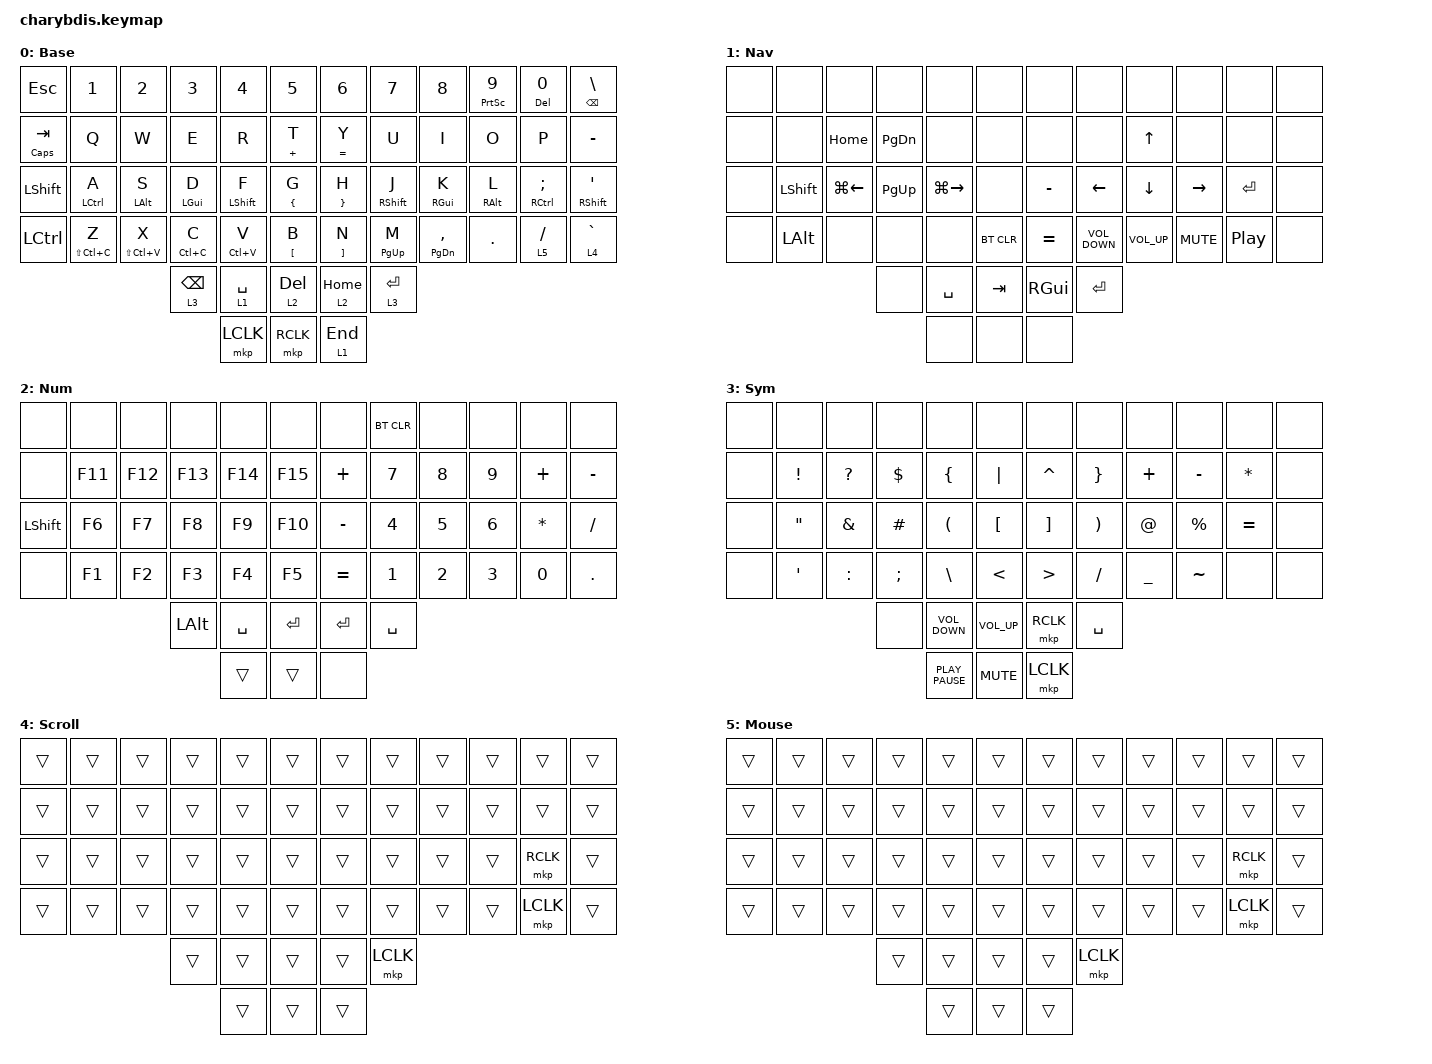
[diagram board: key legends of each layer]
#define ZMK_POINTING_DEFAULT_MOVE_VAL 400  // default: 600
#define ZMK_POINTING_DEFAULT_SCRL_VAL 20    // default: 10

#include <dt-bindings/zmk/mouse.h>
#include <behaviors.dtsi>
#include <dt-bindings/zmk/bt.h>
#include <dt-bindings/zmk/keys.h>

&lt {
    tapping-term-ms = <200>;
    flavor = "balanced";
    quick-tap-ms = <150>;
};

/ {
    combos {
        compatible = "zmk,combos";

        escc {
            bindings = <&kp ESC>;
            key-positions = <17 18>;
            layers = <0>;
        };

        minus {
            bindings = <&kp MINUS>;
            key-positions = <4 7>;
        };

        apostrophe {
            bindings = <&kp APOS>;
            key-positions = <29 30>;
        };
    };

    behaviors {
        hm: homerow_mods {
            compatible = "zmk,behavior-hold-tap";
            #binding-cells = <2>;
            tapping-term-ms = <300>;
            flavor = "tap-preferred";
            bindings = <&kp>, <&kp>;

            label = "HOMEROW_MODS";
        };

        mmv: mmv {
            compatible = "zmk,behavior-input-two-axis";
            label = "MMV";
            #binding-cells = <1>;
            x-input-code = <50>;
            y-input-code = <50>;
            time-to-max-speed-ms = <300>;
            acceleration-exponent = <1>;
        };

        msc: msc {
            compatible = "zmk,behavior-input-two-axis";
            label = "MSC";
            #binding-cells = <1>;
            x-input-code = <50>;
            y-input-code = <50>;
            time-to-max-speed-ms = <300>;
            acceleration-exponent = <0>;
        };
    };

    keymap {
        compatible = "zmk,keymap";

        Base {
            bindings = <
&kp ESCAPE      &kp N1           &kp N2           &kp N3           &kp N4            &kp N5                &kp N6               &kp N7             &kp N8               &hm PRINTSCREEN N9  &hm DEL N0           &hm BACKSPACE BACKSLASH
&hm CAPS TAB    &kp Q            &kp W            &kp E            &kp R             &hm PLUS T            &hm EQUAL Y          &kp U              &kp I                &kp O               &kp P                &kp MINUS
&kp LEFT_SHIFT  &hm LCTRL A      &hm LEFT_ALT S   &hm LEFT_GUI D   &hm LEFT_SHIFT F  &hm LEFT_BRACE G      &hm RIGHT_BRACE H    &hm RIGHT_SHIFT J  &hm RGUI K           &hm RIGHT_ALT L     &hm RCTRL SEMICOLON  &hm RSHIFT SQT
&kp LCTRL       &hm LS(LC(C)) Z  &hm LS(LC(V)) X  &hm LC(C) C      &hm LC(V) V       &hm LEFT_BRACKET B    &hm RIGHT_BRACKET N  &hm PAGE_UP M      &hm PAGE_DOWN COMMA  &kp DOT             &lt 5 SLASH          &lt 4 GRAVE
                                                  &lt 3 BACKSPACE  &lt 1 SPACE       &lt 2 DELETE          &lt 2 HOME           &lt 3 RET
                                                                   &mkp LCLK         &mkp RCLK             &lt 1 END
            >;

            trackball-bindings = <&tmv_coarse>;
        };

        Nav {
            bindings = <
&none  &none           &none         &none          &none          &none         &none          &none              &none            &none       &none             &none
&none  &none           &kp HOME      &kp PAGE_DOWN  &none          &none         &none          &none              &kp UP_ARROW     &none       &none             &none
&none  &kp LEFT_SHIFT  &kp LG(LEFT)  &kp PAGE_UP    &kp LG(RIGHT)  &none         &kp MINUS      &kp LEFT           &kp DOWN_ARROW   &kp RIGHT   &kp RET           &none
&none  &kp LALT        &none         &none          &none          &bt BT_CLR    &kp EQUAL      &kp C_VOLUME_DOWN  &kp C_VOLUME_UP  &kp K_MUTE  &kp C_PLAY_PAUSE  &none
                                     &none          &kp SPACE      &kp TAB       &kp RIGHT_GUI  &kp RET
                                                    &none          &none         &none
            >;

            trackball-bindings = <&tmv_coarse>;
        };

        Num {
            bindings = <
&none           &none    &none    &none         &none      &none        &none      &bt BT_CLR  &none   &none   &none         &none
&none           &kp F11  &kp F12  &kp F13       &kp F14    &kp F15      &kp PLUS   &kp N7      &kp N8  &kp N9  &kp PLUS      &kp MINUS
&kp LEFT_SHIFT  &kp F6   &kp F7   &kp F8        &kp F9     &kp F10      &kp MINUS  &kp N4      &kp N5  &kp N6  &kp ASTERISK  &kp SLASH
&none           &kp F1   &kp F2   &kp F3        &kp F4     &kp F5       &kp EQUAL  &kp N1      &kp N2  &kp N3  &kp N0        &kp PERIOD
                                  &kp LEFT_ALT  &kp SPACE  &kp ENTER    &kp RET    &kp SPACE
                                                &trans     &trans       &none
            >;

            trackball-bindings = <&tmv_coarse>;
        };

        Sym {
            bindings = <
&none  &none              &none          &none          &none                 &none               &none              &none                  &none           &none        &none         &none
&none  &kp EXCLAMATION    &kp QUESTION   &kp DOLLAR     &kp LEFT_BRACE        &kp PIPE            &kp CARET          &kp RIGHT_BRACE        &kp PLUS        &kp MINUS    &kp ASTERISK  &none
&none  &kp DOUBLE_QUOTES  &kp AMPERSAND  &kp HASH       &kp LEFT_PARENTHESIS  &kp LEFT_BRACKET    &kp RIGHT_BRACKET  &kp RIGHT_PARENTHESIS  &kp AT_SIGN     &kp PERCENT  &kp EQUAL     &none
&none  &kp SINGLE_QUOTE   &kp COLON      &kp SEMICOLON  &kp BACKSLASH         &kp LESS_THAN       &kp GREATER_THAN   &kp SLASH              &kp UNDERSCORE  &kp TILDE    &none         &none
                                         &none          &kp C_VOLUME_DOWN     &kp C_VOLUME_UP     &mkp RCLK          &kp SPACE
                                                        &kp K_PLAY_PAUSE      &kp K_MUTE          &mkp LCLK
            >;

            trackball-bindings = <&tmv_coarse>;
        };

        Scroll {
            bindings = <
&trans  &trans  &trans  &trans  &trans  &trans    &trans  &trans     &trans  &trans  &trans     &trans
&trans  &trans  &trans  &trans  &trans  &trans    &trans  &trans     &trans  &trans  &trans     &trans
&trans  &trans  &trans  &trans  &trans  &trans    &trans  &trans     &trans  &trans  &mkp RCLK  &trans
&trans  &trans  &trans  &trans  &trans  &trans    &trans  &trans     &trans  &trans  &mkp LCLK  &trans
                        &trans  &trans  &trans    &trans  &mkp LCLK
                                &trans  &trans    &trans
            >;

            trackball-bindings = <&tsl>;
        };

        Mouse {
            bindings = <
&trans  &trans  &trans  &trans  &trans  &trans    &trans  &trans     &trans  &trans  &trans     &trans
&trans  &trans  &trans  &trans  &trans  &trans    &trans  &trans     &trans  &trans  &trans     &trans
&trans  &trans  &trans  &trans  &trans  &trans    &trans  &trans     &trans  &trans  &mkp RCLK  &trans
&trans  &trans  &trans  &trans  &trans  &trans    &trans  &trans     &trans  &trans  &mkp LCLK  &trans
                        &trans  &trans  &trans    &trans  &mkp LCLK
                                &trans  &trans    &trans
            >;

            trackball-bindings = <&tmv_coarse>;
        };
    };
};
